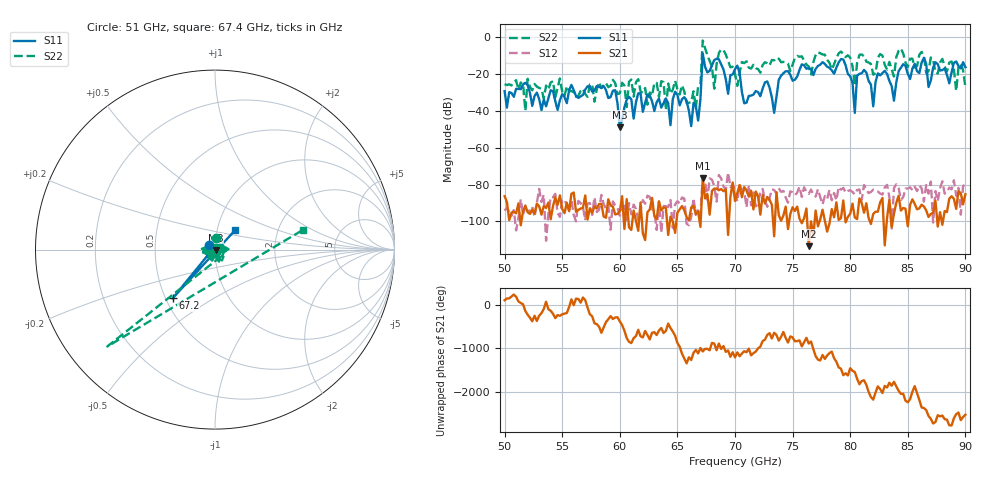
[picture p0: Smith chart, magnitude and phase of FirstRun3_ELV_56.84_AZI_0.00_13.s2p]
! 11/24/2026 3:33:10 PM
! C:\ANRITSUVNA\TEMP\TEMP.S2P
! CHANNEL.1
! TR.MEASUREMENT
! RAW.DATA
# HZ S RI R 50.0
! FREQ.HZ  S11RE  S11IM  S21RE  S21IM  S12RE  S12IM  S22RE  S22IM
!; PortSelection: Port_12
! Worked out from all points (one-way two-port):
!   201 points, 50 GHz to 90 GHz, reference 50 ohm
!   highest |S21| = -76.54 dB at 67.2 GHz (marker M1); lowest = -113.4 dB at 76.4 GHz (marker M2)
!   lowest |S11| = -48.9 dB at 60 GHz (marker M3), VSWR 1.01, Z = 50.3 - j0.156 ohm
!   |S11| at or under -10 dB: start of sweep to 67.19 GHz; 67.23 GHz to end of sweep
!   |S22| runs from -40.0 to -1.9 dB; largest |S21 - S12| = 0.00022
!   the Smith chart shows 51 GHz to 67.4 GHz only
!   S11 on the Smith chart (normalised r, x): 51 GHz: 0.94, +0.05; 67.2 GHz: 0.54, -0.34; 67.4 GHz: 1.22, +0.27
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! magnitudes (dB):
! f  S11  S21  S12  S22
! 50 GHz  -29.4  -86.3  -94.2  -25.6
! 51 GHz  -28.0  -95.6  -104.8  -23.4
! 51.8 GHz  -24.8  -91.3  -92.1  -40.0
! 52 GHz  -26.0  -95.0  -92.2  -22.7
! 56.8 GHz  -31.4  -92.6  -92.3  -28.1
! 59.6 GHz  -28.8  -96.2  -91.2  -25.0
! 60 GHz  -48.9  -94.5  -96.9  -30.5
! 63.4 GHz  -33.4  -89.1  -89.3  -32.6
! 66.8 GHz  -45.3  -94.6  -92.9  -26.5
! 67.2 GHz  -8.9  -76.5  -75.5  -1.9
! 67.4 GHz  -16.1  -87.5  -77.9  -5.9
! 68.2 GHz  -12.5  -82.2  -80.9  -28.0
! 68.8 GHz  -14.8  -82.4  -76.7  -6.7
! 70 GHz  -17.4  -88.9  -83.2  -19.9
! 73.4 GHz  -41.1  -108.0  -83.0  -12.6
! 76.4 GHz  -16.9  -113.4  -85.0  -16.0
! 76.8 GHz  -20.6  -107.9  -85.2  -13.6
! 79.4 GHz  -12.2  -88.6  -81.8  -9.4
! 80.4 GHz  -41.1  -97.8  -85.3  -26.2
! 80.6 GHz  -21.0  -98.7  -82.9  -14.0
! 83.4 GHz  -23.8  -88.3  -86.9  -13.5
! 90 GHz  -16.4  -85.2  -80.0  -27.3
